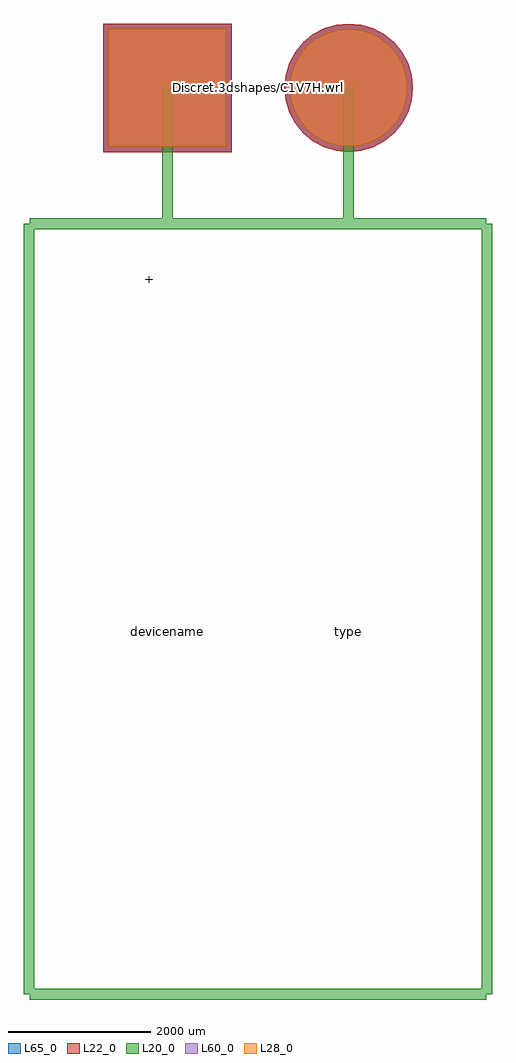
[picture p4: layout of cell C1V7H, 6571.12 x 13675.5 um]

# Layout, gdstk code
import gdstk
lib = gdstk.Library(unit=1e-6, precision=1e-09)
def R(c, l, rs):  # rectangles x0, y0, x1, y1
    for r in rs: c.add(gdstk.rectangle(r[:2], r[2:], *l))
def P(c, l, *ps):  # polygons
    for p in ps: c.add(gdstk.Polygon(p, *l))
L20_0 = (20, 0)
L22_0 = (22, 0)
L28_0 = (28, 0)
L60_0 = (60, 0)
L65_0 = (65, 0)

c1v7h = lib.new_cell('C1V7H')
R(c1v7h, L22_0, [(-2170.5,-900.5,-369.5,900.5)])
P(c1v7h, L22_0, [(2170.5,0),(2153.197,175.679),(2101.954,344.606),(2018.738,500.291),(1906.75,636.75),(1770.291,748.738),(1614.606,831.954),(1445.679,883.197),(1270,900.5),(1094.321,883.197),(925.394,831.954),(769.709,748.738),(633.25,636.75),(521.262,500.291),(438.046,344.606),(386.803,175.679),(369.5,0),(386.803,-175.679),(438.046,-344.606),(521.262,-500.291),(633.25,-636.75),(769.709,-748.738),(925.394,-831.954),(1094.321,-883.197),(1270,-900.5),(1445.679,-883.197),(1614.606,-831.954),(1770.291,-748.738),(1906.75,-636.75),(2018.738,-500.291),(2101.954,-344.606),(2153.197,-175.679)])
R(c1v7h, L28_0, [(-2095.5,-825.5,-444.5,825.5)])
P(c1v7h, L28_0, [(2095.5,0),(2079.638,161.047),(2032.663,315.905),(1956.378,458.623),(1853.717,583.717),(1728.623,686.378),(1585.905,762.663),(1431.047,809.638),(1270,825.5),(1108.953,809.638),(954.095,762.663),(811.377,686.378),(686.283,583.717),(583.622,458.623),(507.337,315.905),(460.362,161.047),(444.5,0),(460.362,-161.047),(507.337,-315.905),(583.622,-458.623),(686.283,-583.717),(811.377,-686.378),(954.095,-762.663),(1108.953,-809.638),(1270,-825.5),(1431.047,-809.638),(1585.905,-762.663),(1728.623,-686.378),(1853.717,-583.717),(1956.378,-458.623),(2032.663,-315.905),(2079.638,-161.047)])
R(c1v7h, L60_0, [(-2095.5,-825.5,-444.5,825.5)])
P(c1v7h, L60_0, [(2095.5,0),(2079.638,161.047),(2032.663,315.905),(1956.378,458.623),(1853.717,583.717),(1728.623,686.378),(1585.905,762.663),(1431.047,809.638),(1270,825.5),(1108.953,809.638),(954.095,762.663),(811.377,686.378),(686.283,583.717),(583.622,458.623),(507.337,315.905),(460.362,161.047),(444.5,0),(460.362,-161.047),(507.337,-315.905),(583.622,-458.623),(686.283,-583.717),(811.377,-686.378),(954.095,-762.663),(1108.953,-809.638),(1270,-825.5),(1431.047,-809.638),(1585.905,-762.663),(1728.623,-686.378),(1853.717,-583.717),(1956.378,-458.623),(2032.663,-315.905),(2079.638,-161.047)])
R(c1v7h, L65_0, [(-2170.5,-900.5,-369.5,900.5)])
P(c1v7h, L65_0, [(2170.5,0),(2153.197,175.679),(2101.954,344.606),(2018.738,500.291),(1906.75,636.75),(1770.291,748.738),(1614.606,831.954),(1445.679,883.197),(1270,900.5),(1094.321,883.197),(925.394,831.954),(769.709,748.738),(633.25,636.75),(521.262,500.291),(438.046,344.606),(386.803,175.679),(369.5,0),(386.803,-175.679),(438.046,-344.606),(521.262,-500.291),(633.25,-636.75),(769.709,-748.738),(925.394,-831.954),(1094.321,-883.197),(1270,-900.5),(1445.679,-883.197),(1614.606,-831.954),(1770.291,-748.738),(1906.75,-636.75),(2018.738,-500.291),(2101.954,-344.606),(2153.197,-175.679)])
c1v7h.add(gdstk.FlexPath([(1270,0),(1270,-1905)], 149.998, ends="flush", simple_path=True, layer=20, datatype=0))  # L20_0
c1v7h.add(gdstk.FlexPath([(-1270,0),(-1270,-1905)], 149.998, ends="flush", simple_path=True, layer=20, datatype=0))  # L20_0
c1v7h.add(gdstk.FlexPath([(3210.56,-12700),(3210.56,-1905)], 149.998, ends="flush", simple_path=True, layer=20, datatype=0))  # L20_0
c1v7h.add(gdstk.FlexPath([(-3200.4,-12700),(3200.4,-12700)], 149.998, ends="flush", simple_path=True, layer=20, datatype=0))  # L20_0
c1v7h.add(gdstk.FlexPath([(-3210.56,-1905),(-3210.56,-12700)], 149.998, ends="flush", simple_path=True, layer=20, datatype=0))  # L20_0
c1v7h.add(gdstk.FlexPath([(3200.4,-1905),(-3200.4,-1905)], 149.998, ends="flush", simple_path=True, layer=20, datatype=0))  # L20_0
c1v7h.add(gdstk.Label('Discret.3dshapes/C1V7H.wrl', (0,0), layer=12, texttype=0))
c1v7h.add(gdstk.Label('2', (1270,0), layer=28, texttype=0))
c1v7h.add(gdstk.Label('1', (-1270,0), layer=28, texttype=0))
c1v7h.add(gdstk.Label('+', (-1524,-2667), layer=9, texttype=0))
c1v7h.add(gdstk.Label('type', (1270,-7620), layer=9, texttype=0))
c1v7h.add(gdstk.Label('devicename', (-1267.46,-7620), layer=9, texttype=0))

lib.write_gds('C1V7H.gds')
